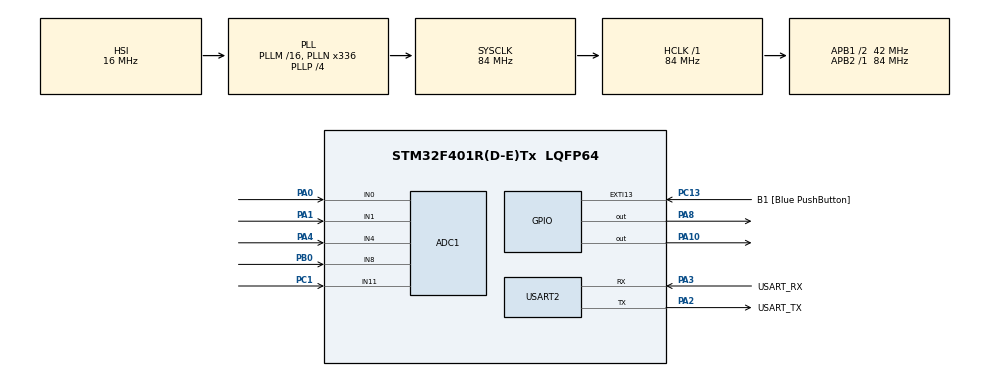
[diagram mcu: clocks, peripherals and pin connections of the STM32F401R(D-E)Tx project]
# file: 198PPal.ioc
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ADC1.Channel-0\#ChannelRegularConversion=ADC_CHANNEL_0
ADC1.NbrOfConversionFlag=1
ADC1.Rank-0\#ChannelRegularConversion=1
ADC1.SamplingTime-0\#ChannelRegularConversion=ADC_SAMPLETIME_3CYCLES
ADC1.master=1
Mcu.Family=STM32F4
Mcu.Name=STM32F401R(D-E)Tx
Mcu.Package=LQFP64
NVIC.PriorityGroup=NVIC_PRIORITYGROUP_0
PA0-WKUP.Signal=ADCx_IN0
PA1.Signal=ADCx_IN1
PA10.Signal=GPIO_Output
PA13.GPIO_Label=TMS
PA13.Mode=Serial_Wire
PA13.Signal=SYS_JTMS-SWDIO
PA14.GPIO_Label=TCK
PA14.Mode=Serial_Wire
PA14.Signal=SYS_JTCK-SWCLK
PA2.GPIO_Label=USART_TX
PA2.GPIO_Mode=GPIO_MODE_AF_PP
PA2.GPIO_PuPd=GPIO_NOPULL
PA2.GPIO_Speed=GPIO_SPEED_FREQ_LOW
PA2.Mode=Asynchronous
PA2.Signal=USART2_TX
PA3.GPIO_Label=USART_RX
PA3.GPIO_Mode=GPIO_MODE_AF_PP
PA3.GPIO_PuPd=GPIO_NOPULL
PA3.GPIO_Speed=GPIO_SPEED_FREQ_LOW
PA3.Mode=Asynchronous
PA3.Signal=USART2_RX
PA4.Signal=ADCx_IN4
PA8.Signal=GPIO_Output
PB0.Signal=ADCx_IN8
PB3.GPIO_Label=SWO
PB3.Signal=SYS_JTDO-SWO
PC1.Signal=ADCx_IN11
PC13-ANTI_TAMP.GPIO_Label=B1 [Blue PushButton]
PC13-ANTI_TAMP.GPIO_ModeDefaultEXTI=GPIO_MODE_IT_FALLING
PC13-ANTI_TAMP.GPIO_PuPd=GPIO_NOPULL
PC13-ANTI_TAMP.Signal=GPXTI13
PC14-OSC32_IN.Mode=LSE-External-Oscillator
PC14-OSC32_IN.Signal=RCC_OSC32_IN
PC15-OSC32_OUT.Mode=LSE-External-Oscillator
PC15-OSC32_OUT.Signal=RCC_OSC32_OUT
PH0\ -\ OSC_IN.Mode=HSE-External-Clock-Source
PH0\ -\ OSC_IN.Signal=RCC_OSC_IN
PH1\ -\ OSC_OUT.Mode=HSE-External-Clock-Source
PH1\ -\ OSC_OUT.Signal=RCC_OSC_OUT
ProjectManager.HeapSize=0x200
ProjectManager.StackSize=0x400
ProjectManager.TargetToolchain=STM32CubeIDE
RCC.48MHZClocksFreq_Value=48000000
RCC.AHBFreq_Value=84000000
RCC.APB1CLKDivider=RCC_HCLK_DIV2
RCC.APB1Freq_Value=42000000
RCC.APB1TimFreq_Value=84000000
RCC.APB2Freq_Value=84000000
RCC.APB2TimFreq_Value=84000000
RCC.CortexFreq_Value=84000000
RCC.HCLKFreq_Value=84000000
RCC.HSE_VALUE=8000000
RCC.HSI_VALUE=16000000
RCC.PLLN=336
RCC.PLLP=RCC_PLLP_DIV4
RCC.PLLQ=7
RCC.SYSCLKFreq_VALUE=84000000
RCC.SYSCLKSource=RCC_SYSCLKSOURCE_PLLCLK
RCC.VCOOutputFreq_Value=336000000
SH.ADCx_IN0.0=ADC1_IN0,IN0
SH.ADCx_IN1.0=ADC1_IN1,IN1
SH.ADCx_IN11.0=ADC1_IN11,IN11
SH.ADCx_IN4.0=ADC1_IN4,IN4
SH.ADCx_IN8.0=ADC1_IN8,IN8
USART2.VirtualMode=VM_ASYNC
board=NUCLEO-F401RE

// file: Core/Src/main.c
/* USER CODE BEGIN Header */
/**
  ******************************************************************************
  * @file           : main.c
  * @brief          : Main program body
  ******************************************************************************
  * @attention
  *
  * <h2><center>&copy; Copyright (c) 2019 STMicroelectronics.
  * All rights reserved.</center></h2>
  *
  * This software component is licensed by ST under BSD 3-Clause license,
  * the "License"; You may not use this file except in compliance with the
  * License. You may obtain a copy of the License at:
  *                        opensource.org/licenses/BSD-3-Clause
  *
  ******************************************************************************
  */
/* USER CODE END Header */
#include "main.h"

/* USER CODE BEGIN Includes */
#include <string.h>
#include <stdio.h>
#include <stdbool.h>
/* USER CODE END Includes */

/* USER CODE BEGIN PD */
#define WATCHDOG_INTERVAL_MS 5000
volatile bool watchdog_expired = false;
/* USER CODE END PD */

ADC_HandleTypeDef hadc1;

UART_HandleTypeDef huart2;

/* USER CODE BEGIN PV */
ADC_ChannelConfTypeDef sConfig;

/* USER CODE END PV */

void SystemClock_Config(void);
static void MX_GPIO_Init(void);
static void MX_USART2_UART_Init(void);
static void MX_ADC1_Init(void);
/* USER CODE BEGIN PFP */
void start_watchdog_timer(void);
void stop_watchdog_timer(void);
/* USER CODE END PFP */

int main(void)
{
  /* USER CODE BEGIN 1 */
  char msg[40];
  /* USER CODE END 1 */

  /* MCU Configuration--------------------------------------------------------*/

  /* Reset of all peripherals, Initializes the Flash interface and the Systick. */
  HAL_Init();

  /* Configure the system clock */
  SystemClock_Config();

  /* Initialize all configured peripherals */
  MX_GPIO_Init();
  MX_USART2_UART_Init();
  MX_ADC1_Init();
  /* USER CODE BEGIN 2 */
  // Values of each potentiometer
  long unsigned int adc_value_ch0 = 0;
  long unsigned int adc_value_ch1 = 0;
  long unsigned int adc_value_ch2 = 0;
  long unsigned int adc_value_ch3 = 0;
  long unsigned int adc_value_ch4 = 0;

  // Switching between each reading
  int adc_channel = 0;

  // Is the user's posture different, time since the last change in posture, last and current posture
  bool diff_posture = false;
  long unsigned int time_since_posture_change = 0;
  long unsigned int last_posture[5], current_posture[5] = {0, 0, 0, 0, 0};

  // Initial reading to allow logic to begin with full data
  bool initial_read = false;

  // Conversion constant for ADC to degrees
  long unsigned int adc_deg_conv_const = 11.655555555555;
  long unsigned int testtimer = 0;
  start_watchdog_timer();

  /* USER CODE END 2 */

  /* Infinite loop */
  /* USER CODE BEGIN WHILE */
  while (1)
  {

	  if (watchdog_expired) {
	        // Handle the watchdog timeout
	        // ...

	        // Reset the watchdog timer
	        stop_watchdog_timer();
	        start_watchdog_timer();
	  }

	HAL_GPIO_WritePin(GPIOA, GPIO_PIN_10, GPIO_PIN_RESET);
	// Make readings of the potentiometers using ADC, only reads one at a time to prevent erroneous values
    if (adc_channel == 0){ // Reads the first potentiometer (A0)
    	// Sets the analog pin to read (A0)
    	sConfig.Channel = ADC_CHANNEL_0;
    	HAL_ADC_ConfigChannel(&hadc1, &sConfig);

    	// Reads the pin (A0)
    	HAL_ADC_Start(&hadc1);
    	HAL_ADC_PollForConversion(&hadc1, 100);
    	adc_value_ch0 = HAL_ADC_GetValue(&hadc1);

    	sprintf(msg, "ADC Channel 0 value: %lu\r\n", adc_value_ch0); // Debug purposes

    	adc_channel++; // Moves to the next potentiometer to read

    } else if (adc_channel == 1){ // Reads the second potentiometer (A1)
    	// Sets the analog pin to read (A1)
    	sConfig.Channel = ADC_CHANNEL_1;
    	HAL_ADC_ConfigChannel(&hadc1, &sConfig);

    	// Reads the pin (A1)
    	HAL_ADC_Start(&hadc1);
    	HAL_ADC_PollForConversion(&hadc1, 100);
    	adc_value_ch1 = HAL_ADC_GetValue(&hadc1);

    	sprintf(msg, "ADC Channel 1 value: %lu\r\n", adc_value_ch1); // Debug purposes

    	adc_channel++; // Moves to the next potentiometer to read

    } else if (adc_channel == 2){
    	// Sets the analog pin to read (A2)
    	sConfig.Channel = ADC_CHANNEL_4;
    	HAL_ADC_ConfigChannel(&hadc1, &sConfig);

    	// Reads the pin (A2)
    	HAL_ADC_Start(&hadc1);
    	HAL_ADC_PollForConversion(&hadc1, 100);
    	adc_value_ch2 = HAL_ADC_GetValue(&hadc1);

    	sprintf(msg, "ADC Channel 2 value: %lu\r\n", adc_value_ch2); // Debug purposes

    	adc_channel++; // Moves to the next potentiometer to read

    } else if (adc_channel == 3){
    	// Sets the analog pin to read (A3)
    	sConfig.Channel = ADC_CHANNEL_8;
    	HAL_ADC_ConfigChannel(&hadc1, &sConfig);

    	// Reads the pin (A3)
    	HAL_ADC_Start(&hadc1);
    	HAL_ADC_PollForConversion(&hadc1, 100);
    	adc_value_ch3 = HAL_ADC_GetValue(&hadc1);

    	sprintf(msg, "ADC Channel 3 value: %lu\r\n", adc_value_ch3); // Debug purposes

    	adc_channel++; // Moves to the next potentiometer to read

    } else if (adc_channel == 4){
    	// Sets the analog pin to read (A4)
    	sConfig.Channel = ADC_CHANNEL_11;
    	HAL_ADC_ConfigChannel(&hadc1, &sConfig);

    	// Reads the pin (A4)
    	HAL_ADC_Start(&hadc1);
    	HAL_ADC_PollForConversion(&hadc1, 100);
    	adc_value_ch4 = HAL_ADC_GetValue(&hadc1);

    	sprintf(msg, "ADC Channel 4 value: %lu\r\n", adc_value_ch4); // Debug purposes

    	if (initial_read == false) { // Makes the initial reading which allows the logic to start
    		long unsigned int last_posture[5] = {adc_value_ch0, adc_value_ch1, adc_value_ch2, adc_value_ch3, adc_value_ch4};
    		initial_read = true;

    	}

    	// Sets the current posture for the logic
    	long unsigned int current_posture[5] = {adc_value_ch0, adc_value_ch1, adc_value_ch2, adc_value_ch3, adc_value_ch4};

    	adc_channel = 0; // Resets back to reading the first potentiometer

    } else {
    	adc_channel = 0; // Catches any error and resets to the first potentiometer

    }

    HAL_UART_Transmit(&huart2, (uint8_t*)msg, strlen(msg), HAL_MAX_DELAY); // Convert to string and print (debug purposes

    if (initial_read){ // When the device gathers the initial data necessary, begin logic
        if (((current_posture[0] + current_posture[1] + current_posture[2] + current_posture[3] + current_posture[4]) - (last_posture[0] + last_posture[1] + last_posture[2] + last_posture[3] + last_posture[4])) / adc_deg_conv_const > (10 + 0.28)){ // Is the user's posture within 10 degrees + 100 Ohms error
        	diff_posture = true; // Detects a different posture in the user
        }

        if (diff_posture == true && HAL_GetTick() - time_since_posture_change > 600000){ // If the user has a different posture and it has not been 10 minutes, remind them to keep their current posture, otherwise update their posture and reset the timer
        	HAL_GPIO_WritePin(GPIOA, GPIO_PIN_8, GPIO_PIN_RESET);
        	time_since_posture_change = HAL_GetTick();
        	long unsigned int last_posture[5] = {current_posture[0], current_posture[1], current_posture[2], current_posture[3], current_posture[4]};
        	diff_posture == false;
        } else if (diff_posture == true) { // Remind the user to keep their posture
        	HAL_GPIO_WritePin(GPIOA, GPIO_PIN_8, GPIO_PIN_SET);
        }

        if (HAL_GetTick() - time_since_posture_change > 1800000){ // If it has been 30 minutes since the last change in posture, pulse every 1.5 seconds to remind them to change it
        	if ((HAL_GetTick() - time_since_posture_change - 1800000) % 3000 < 1500){
        		HAL_GPIO_WritePin(GPIOA, GPIO_PIN_8, GPIO_PIN_SET);
        	} else {
        		HAL_GPIO_WritePin(GPIOA, GPIO_PIN_8, GPIO_PIN_RESET);
        	}
        } else if (diff_posture == false){ // Turn off the device if their posture is as it should be
        	HAL_GPIO_WritePin(GPIOA, GPIO_PIN_8, GPIO_PIN_RESET);
        }
    }

    // Test code
    if (HAL_GetTick() - testtimer > 10000){
    	testtimer = HAL_GetTick();
    	HAL_GPIO_WritePin(GPIOA, GPIO_PIN_8, GPIO_PIN_SET);
    	HAL_Delay(1000);
    	HAL_GPIO_WritePin(GPIOA, GPIO_PIN_8, GPIO_PIN_RESET);
    }

    HAL_Delay(100); // Delay to allow smooth operation

    /* USER CODE END WHILE */

  }
}

void start_watchdog_timer(void)
{
  HAL_Delay(WATCHDOG_INTERVAL_MS);
  watchdog_expired = true;
}

void stop_watchdog_timer(void)
{
  watchdog_expired = false;
}

void SystemClock_Config(void)
{
  RCC_OscInitTypeDef RCC_OscInitStruct = {0};
  RCC_ClkInitTypeDef RCC_ClkInitStruct = {0};

  /** Configure the main internal regulator output voltage
  */
  __HAL_RCC_PWR_CLK_ENABLE();
  __HAL_PWR_VOLTAGESCALING_CONFIG(PWR_REGULATOR_VOLTAGE_SCALE2);

  /** Initializes the RCC Oscillators according to the specified parameters
  * in the RCC_OscInitTypeDef structure.
  */
  RCC_OscInitStruct.OscillatorType = RCC_OSCILLATORTYPE_HSI;
  RCC_OscInitStruct.HSIState = RCC_HSI_ON;
  RCC_OscInitStruct.HSICalibrationValue = RCC_HSICALIBRATION_DEFAULT;
  RCC_OscInitStruct.PLL.PLLState = RCC_PLL_ON;
  RCC_OscInitStruct.PLL.PLLSource = RCC_PLLSOURCE_HSI;
  RCC_OscInitStruct.PLL.PLLM = 16;
  RCC_OscInitStruct.PLL.PLLN = 336;
  RCC_OscInitStruct.PLL.PLLP = RCC_PLLP_DIV4;
  RCC_OscInitStruct.PLL.PLLQ = 7;
  if (HAL_RCC_OscConfig(&RCC_OscInitStruct) != HAL_OK)
  {
    Error_Handler();
  }

  /** Initializes the CPU, AHB and APB buses clocks
  */
  RCC_ClkInitStruct.ClockType = RCC_CLOCKTYPE_HCLK|RCC_CLOCKTYPE_SYSCLK
                              |RCC_CLOCKTYPE_PCLK1|RCC_CLOCKTYPE_PCLK2;
  RCC_ClkInitStruct.SYSCLKSource = RCC_SYSCLKSOURCE_PLLCLK;
  RCC_ClkInitStruct.AHBCLKDivider = RCC_SYSCLK_DIV1;
  RCC_ClkInitStruct.APB1CLKDivider = RCC_HCLK_DIV2;
  RCC_ClkInitStruct.APB2CLKDivider = RCC_HCLK_DIV1;

  if (HAL_RCC_ClockConfig(&RCC_ClkInitStruct, FLASH_LATENCY_2) != HAL_OK)
  {
    Error_Handler();
  }
}

static void MX_ADC1_Init(void)
{

  /** Configure the global features of the ADC (Clock, Resolution, Data Alignment and number of conversion)
  */
  hadc1.Instance = ADC1;
  hadc1.Init.ClockPrescaler = ADC_CLOCK_SYNC_PCLK_DIV4;
  hadc1.Init.Resolution = ADC_RESOLUTION_12B;
  hadc1.Init.ScanConvMode = DISABLE;
  hadc1.Init.ContinuousConvMode = DISABLE;
  hadc1.Init.DiscontinuousConvMode = DISABLE;
  hadc1.Init.ExternalTrigConvEdge = ADC_EXTERNALTRIGCONVEDGE_NONE;
  hadc1.Init.ExternalTrigConv = ADC_SOFTWARE_START;
  hadc1.Init.DataAlign = ADC_DATAALIGN_RIGHT;
  hadc1.Init.NbrOfConversion = 1;
  hadc1.Init.DMAContinuousRequests = DISABLE;
  hadc1.Init.EOCSelection = ADC_EOC_SINGLE_CONV;
  if (HAL_ADC_Init(&hadc1) != HAL_OK)
  {
    Error_Handler();
  }

  /** Configure for the selected ADC regular channel its corresponding rank in the sequencer and its sample time.
  */
  sConfig.Channel = ADC_CHANNEL_0;
  sConfig.Rank = 1;
  sConfig.SamplingTime = ADC_SAMPLETIME_3CYCLES;
  if (HAL_ADC_ConfigChannel(&hadc1, &sConfig) != HAL_OK)
  {
    Error_Handler();
  }

}

static void MX_USART2_UART_Init(void)
{

  huart2.Instance = USART2;
  huart2.Init.BaudRate = 115200;
  huart2.Init.WordLength = UART_WORDLENGTH_8B;
  huart2.Init.StopBits = UART_STOPBITS_1;
  huart2.Init.Parity = UART_PARITY_NONE;
  huart2.Init.Mode = UART_MODE_TX_RX;
  huart2.Init.HwFlowCtl = UART_HWCONTROL_NONE;
  huart2.Init.OverSampling = UART_OVERSAMPLING_16;
  if (HAL_UART_Init(&huart2) != HAL_OK)
  {
    Error_Handler();
  }

}

static void MX_GPIO_Init(void)
{
  GPIO_InitTypeDef GPIO_InitStruct = {0};

  /* GPIO Ports Clock Enable */
  __HAL_RCC_GPIOC_CLK_ENABLE();
  __HAL_RCC_GPIOH_CLK_ENABLE();
  __HAL_RCC_GPIOA_CLK_ENABLE();
  __HAL_RCC_GPIOB_CLK_ENABLE();

  /*Configure GPIO pin Output Level */
  HAL_GPIO_WritePin(GPIOA, GPIO_PIN_8|GPIO_PIN_10, GPIO_PIN_RESET);

  /*Configure GPIO pin : B1_Pin */
  GPIO_InitStruct.Pin = B1_Pin;
  GPIO_InitStruct.Mode = GPIO_MODE_IT_FALLING;
  GPIO_InitStruct.Pull = GPIO_NOPULL;
  HAL_GPIO_Init(B1_GPIO_Port, &GPIO_InitStruct);

  /*Configure GPIO pins : PA8 PA10 */
  GPIO_InitStruct.Pin = GPIO_PIN_8|GPIO_PIN_10;
  GPIO_InitStruct.Mode = GPIO_MODE_OUTPUT_PP;
  GPIO_InitStruct.Pull = GPIO_NOPULL;
  GPIO_InitStruct.Speed = GPIO_SPEED_FREQ_LOW;
  HAL_GPIO_Init(GPIOA, &GPIO_InitStruct);

}

void Error_Handler(void)
{
  __disable_irq();
  while (1)
  {
  }
}
